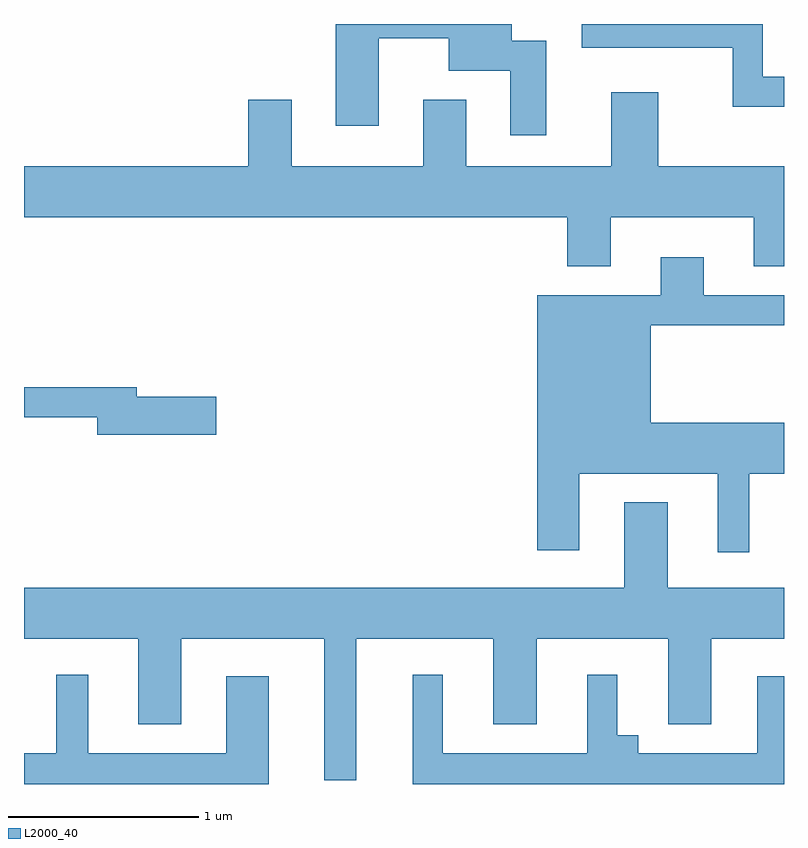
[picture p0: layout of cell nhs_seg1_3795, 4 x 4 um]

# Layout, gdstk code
import gdstk
lib = gdstk.Library(unit=1e-6, precision=1e-09)
def P(c, l, *ps):  # polygons
    for p in ps: c.add(gdstk.Polygon(p, *l))
L2000_40 = (2000, 40)

nhs_seg1_3795 = lib.new_cell('nhs_seg1_3795')
P(nhs_seg1_3795, L2000_40, [(303.611,891.434),(303.499,891.434),(303.499,891.712),(302.546,891.712),(302.546,891.586),(303.341,891.586),(303.341,891.276),(303.611,891.276)],
  [(302.359,891.624),(302.179,891.624),(302.179,891.712),(301.251,891.712),(301.251,891.176),(301.479,891.176),(301.479,891.636),(301.846,891.636),(301.846,891.466),(302.171,891.466),(302.171,891.126),(302.359,891.126)],
  [(302.699,890.696),(303.451,890.696),(303.451,890.436),(303.611,890.436),(303.611,890.964),(302.949,890.964),(302.949,891.354),(302.701,891.354),(302.701,890.964),(301.939,890.964),(301.939,891.314),(301.711,891.314),(301.711,890.964),(301.019,890.964),(301.019,891.314),(300.791,891.314),(300.791,890.964),(299.611,890.964),(299.611,890.696),(302.471,890.696),(302.471,890.436),(302.699,890.436)],
  [(303.429,889.346),(303.611,889.346),(303.611,889.614),(302.909,889.614),(302.909,890.126),(303.611,890.126),(303.611,890.284),(303.189,890.284),(303.189,890.484),(302.961,890.484),(302.961,890.284),(302.311,890.284),(302.311,888.941),(302.534,888.941),(302.534,889.346),(303.261,889.346),(303.261,888.933),(303.429,888.933)],
  [(300.624,889.749),(300.204,889.749),(300.204,889.799),(299.611,889.799),(299.611,889.641),(299.996,889.641),(299.996,889.551),(300.624,889.551)],
  [(301.359,888.476),(302.081,888.476),(302.081,888.026),(302.309,888.026),(302.309,888.476),(303.001,888.476),(303.001,888.026),(303.229,888.026),(303.229,888.476),(303.611,888.476),(303.611,888.744),(302.999,888.744),(302.999,889.194),(302.771,889.194),(302.771,888.744),(299.611,888.744),(299.611,888.476),(300.211,888.476),(300.211,888.026),(300.439,888.026),(300.439,888.476),(301.191,888.476),(301.191,887.733),(301.359,887.733)],
  [(303.611,888.279),(303.471,888.279),(303.471,887.874),(302.844,887.874),(302.844,887.969),(302.734,887.969),(302.734,888.288),(302.576,888.288),(302.576,887.874),(301.814,887.874),(301.814,888.288),(301.656,888.288),(301.656,887.712),(303.611,887.712)],
  [(300.899,888.279),(300.676,888.279),(300.676,887.874),(299.949,887.874),(299.949,888.288),(299.781,888.288),(299.781,887.874),(299.611,887.874),(299.611,887.712),(300.899,887.712)])

lib.write_gds('nhs_seg1_3795.gds')
